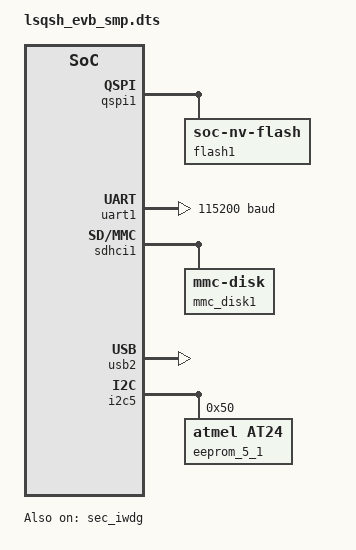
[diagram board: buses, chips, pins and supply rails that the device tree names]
/*
 * Copyright (c) 2025 linkedsemi
 * SPDX-License-Identifier: Apache-2.0
 */

/dts-v1/;
#include <riscv/linkedsemi/lsqsh.dtsi>
#include <arch/riscv/csr.h>
#include <zephyr/dt-bindings/pwm/pwm.h>
#include "lsqsh_evb_pinctrl.dtsi"
#include <zephyr/dt-bindings/adc/ls-adc.h>
#define BTN_GPIO_FLAGS (GPIO_ACTIVE_HIGH | GPIO_PULL_UP)


#define SRAM_TOTAL_SIZE DT_SIZE_K(1280)

&chosen {
    zephyr,flash = &sram;
    zephyr,flash-controller = &qspi1;
    zephyr,sram = &sram;
    zephyr,console = &uart1;
    zephyr,shell-uart = &uart1;
};

&aliases {
    sdhc0 = &sdhci1;
    watchdog0 = &sec_iwdg;
    // peci-0 = &peci1;
    // sw0 = &btn1;
    // led0 = &led1;
    // pwm-led0 = &pwm_led0;
};

&soc {
    /delete-node/ memory@10000000;
    sram: memory@10000000 {
        compatible = "mmio-sram";
        reg = <0x10000000 SRAM_TOTAL_SIZE>;
    };

    driver_share_memory: memory@100be000 {
        compatible = "zephyr,memory-region", "mmio-sram";
        reg = <0x100be000 0x1000>;
        zephyr,memory-region = "SHMEM";
    };

    qspi1: qspi@40000000 {
        compatible = "linkedsemi,ls-flash-controller";
        reg = <0x40000000 0x400>;
        #address-cells = <1>;
        #size-cells = <1>;
        interrupts = <3 3>;
        quad_mode;
        continuous_mode;
        // mbox = <&mbox_consumer_qspi1>;

        flash1: flash@8000000 {
            compatible = "soc-nv-flash";
            reg = <0x8000000 DT_SIZE_M(32)>;
            erase-block-size = <4096>;
            write-block-size = <4>;
        };
    };
};

&cpu1 {
    status = "okay";
};

&cpu2 {
    status = "okay";
};

&gpioa {
    status = "okay";
};

&gpiob {
    status = "okay";
};

&gpioc {
    status = "okay";
};

&gpiod {
    status = "okay";
};

&gpioe {
    status = "okay";
};

&gpiof {
    status = "okay";
};

&gpiog {
    status = "okay";
};

&gpioh {
    status = "okay";
};

&gpioi {
    status = "okay";
};

&gpioj {
    status = "okay";
};

&gpiok {
    status = "okay";
};

&gpiom {
    status = "okay";
};

&gpion {
    status = "okay";
};

&gpioq {
    status = "okay";
};

&gpiot {
    status = "okay";
};

&uart1 {
    current-speed = <115200>;
    status = "okay";
};

&uart3 {
    current-speed = <115200>;
    status = "disabled";
};

&uart4 {
    current-speed = <115200>;
    status = "disabled";
};

&sec_iwdg {
    status = "okay";
};

&pmu_iwdg {
    status = "okay";
};

// &eth1 {
//     phy-handle = <&eth1_phy>;
//     status = "okay";
// };

// &mdio1 {
//     status = "okay";
//     reset-gpios = <&gpiog 1 GPIO_ACTIVE_HIGH>;
//     reset-hold-ms = <10>;
//     circuits-set-ms = <30>;
//     eth1_phy: ethernet-phy@0 {
//         compatible = "realtek,rtl8211f";
//         reg = <0>;
//         reset-gpios = <&gpiog 1 GPIO_ACTIVE_HIGH>;
//         int-gpios = <&gpiog 5 GPIO_ACTIVE_LOW>;
//         status = "okay";
//     };
// };

&sdhci1 {
    status = "okay";

    mmc_disk1: disk {
        compatible = "zephyr,mmc-disk";
        /* samples/subsys/fs/fs_sample/ assert disk-name to SD2 */
        disk-name = "SD2";
        bus-width = <8>;
        status = "okay";
    };
};

zephyr_udc0: &usb2 {
    status = "okay";
};

&i2c5 {
    status = "okay";
    eeprom_5_1: eeprom@50 {
        compatible = "atmel,at24";
        reg = <0x50>;
        size = <4096>;
        pagesize = <32>;
        address-width = <16>;
        timeout = <5>;
    };
};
